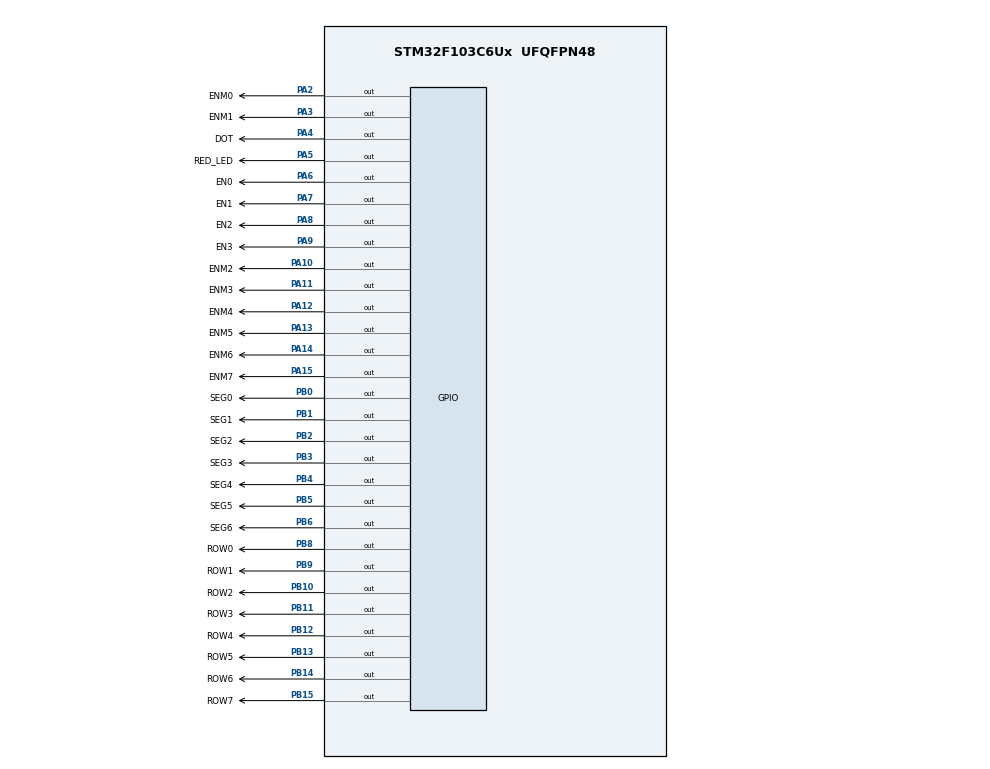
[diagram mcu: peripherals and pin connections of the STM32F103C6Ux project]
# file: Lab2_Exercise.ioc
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Mcu.Family=STM32F1
Mcu.Name=STM32F103C6Ux
Mcu.Package=UFQFPN48
NVIC.PriorityGroup=NVIC_PRIORITYGROUP_4
NVIC.TIM2_IRQn=true\:0\:0\:false\:false\:true\:true\:true\:true
PA10.GPIO_Label=ENM2
PA10.Signal=GPIO_Output
PA11.GPIO_Label=ENM3
PA11.Signal=GPIO_Output
PA12.GPIO_Label=ENM4
PA12.Signal=GPIO_Output
PA13.GPIO_Label=ENM5
PA13.Signal=GPIO_Output
PA14.GPIO_Label=ENM6
PA14.Signal=GPIO_Output
PA15.GPIO_Label=ENM7
PA15.Signal=GPIO_Output
PA2.GPIO_Label=ENM0
PA2.Signal=GPIO_Output
PA3.GPIO_Label=ENM1
PA3.Signal=GPIO_Output
PA4.GPIO_Label=DOT
PA4.Signal=GPIO_Output
PA5.GPIO_Label=RED_LED
PA5.Signal=GPIO_Output
PA6.GPIO_Label=EN0
PA6.Signal=GPIO_Output
PA7.GPIO_Label=EN1
PA7.Signal=GPIO_Output
PA8.GPIO_Label=EN2
PA8.Signal=GPIO_Output
PA9.GPIO_Label=EN3
PA9.Signal=GPIO_Output
PB0.GPIO_Label=SEG0
PB0.Signal=GPIO_Output
PB1.GPIO_Label=SEG1
PB1.Signal=GPIO_Output
PB10.GPIO_Label=ROW2
PB10.Signal=GPIO_Output
PB11.GPIO_Label=ROW3
PB11.Signal=GPIO_Output
PB12.GPIO_Label=ROW4
PB12.Signal=GPIO_Output
PB13.GPIO_Label=ROW5
PB13.Signal=GPIO_Output
PB14.GPIO_Label=ROW6
PB14.Signal=GPIO_Output
PB15.GPIO_Label=ROW7
PB15.Signal=GPIO_Output
PB2.GPIO_Label=SEG2
PB2.Signal=GPIO_Output
PB3.GPIO_Label=SEG3
PB3.Signal=GPIO_Output
PB4.GPIO_Label=SEG4
PB4.Signal=GPIO_Output
PB5.GPIO_Label=SEG5
PB5.Signal=GPIO_Output
PB6.GPIO_Label=SEG6
PB6.Signal=GPIO_Output
PB8.GPIO_Label=ROW0
PB8.Signal=GPIO_Output
PB9.GPIO_Label=ROW1
PB9.Signal=GPIO_Output
ProjectManager.HeapSize=0x200
ProjectManager.StackSize=0x400
ProjectManager.TargetToolchain=STM32CubeIDE
RCC.APB1Freq_Value=8000000
RCC.APB2Freq_Value=8000000
TIM2.Period=9
TIM2.Prescaler=7999
VP_TIM2_VS_ClockSourceINT.Mode=Internal
board=custom

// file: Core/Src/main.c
/* USER CODE BEGIN Header */
/**
  ******************************************************************************
  * @file           : main.c
  * @brief          : Main program body
  ******************************************************************************
  * @attention
  *
  * Copyright (c) 2023 STMicroelectronics.
  * All rights reserved.
  *
  * This software is licensed under terms that can be found in the LICENSE file
  * in the root directory of this software component.
  * If no LICENSE file comes with this software, it is provided AS-IS.
  *
  ******************************************************************************
  */
/* USER CODE END Header */
#include "main.h"

/* USER CODE BEGIN Includes */
#include "software_timer.h"
/* USER CODE END Includes */

/* USER CODE BEGIN PM */
#define TIMER1 25
#define TIMER2 100
#define TIMER3 100
#define TIMER4 5
#define TIMER5 100
/* USER CODE END PM */

TIM_HandleTypeDef htim2;

/* USER CODE BEGIN PV */
const int MAX_LED = 4;
int index_led = 0;
int led_buffer[4] = {1, 2, 3, 4};
int hour = 15, minute = 8, second = 50;

const int MAX_LED_MATRIX = 8;
int index_led_matrix = 0;
uint16_t matrix_row[8] = {0x0018, 0x003C, 0x0066, 0x0066, 0x007E, 0x0066, 0x0066, 0x0066};
uint16_t matrix_col[8] = {0x0001, 0x0002, 0x0004, 0x0008, 0x0010, 0x0020, 0x0040, 0x0080};

uint16_t new_row[8] = {0x0018, 0x003C, 0x0066, 0x0066, 0x007E, 0x0066, 0x0066, 0x0066};
uint16_t new_col[8] = {0x0001, 0x0002, 0x0004, 0x0008, 0x000C, 0x0020, 0x0040, 0x0080};

uint16_t COL[8] = {ENM0_Pin, ENM1_Pin, ENM2_Pin, ENM3_Pin,
				   ENM4_Pin, ENM5_Pin, ENM6_Pin, ENM7_Pin};
uint16_t ROW[8] = {ROW0_Pin, ROW1_Pin, ROW2_Pin, ROW3_Pin,
		           ROW4_Pin, ROW5_Pin, ROW6_Pin, ROW7_Pin};
/* USER CODE END PV */

void SystemClock_Config(void);
static void MX_GPIO_Init(void);
static void MX_TIM2_Init(void);

/* USER CODE BEGIN 0 */
void on_light(int led)
{
	switch (led)
	{
	case 0:
		HAL_GPIO_WritePin(EN0_GPIO_Port, EN0_Pin, RESET);
		HAL_GPIO_WritePin(EN1_GPIO_Port, EN1_Pin, SET);
		HAL_GPIO_WritePin(EN2_GPIO_Port, EN2_Pin, SET);
		HAL_GPIO_WritePin(EN3_GPIO_Port, EN3_Pin, SET);
		break;
	case 1:
		HAL_GPIO_WritePin(EN0_GPIO_Port, EN0_Pin, SET);
		HAL_GPIO_WritePin(EN1_GPIO_Port, EN1_Pin, RESET);
		HAL_GPIO_WritePin(EN2_GPIO_Port, EN2_Pin, SET);
		HAL_GPIO_WritePin(EN3_GPIO_Port, EN3_Pin, SET);
		break;
	case 2:
		HAL_GPIO_WritePin(EN0_GPIO_Port, EN0_Pin, SET);
		HAL_GPIO_WritePin(EN1_GPIO_Port, EN1_Pin, SET);
		HAL_GPIO_WritePin(EN2_GPIO_Port, EN2_Pin, RESET);
		HAL_GPIO_WritePin(EN3_GPIO_Port, EN3_Pin, SET);
		break;
	default:
		HAL_GPIO_WritePin(EN0_GPIO_Port, EN0_Pin, SET);
		HAL_GPIO_WritePin(EN1_GPIO_Port, EN1_Pin, SET);
		HAL_GPIO_WritePin(EN2_GPIO_Port, EN2_Pin, SET);
		HAL_GPIO_WritePin(EN3_GPIO_Port, EN3_Pin, RESET);
	}
}
void display7SEG(int num)
{
	switch (num)
	{
	case 0:
		HAL_GPIO_WritePin(SEG0_GPIO_Port, SEG0_Pin, RESET);
		HAL_GPIO_WritePin(SEG1_GPIO_Port, SEG1_Pin, RESET);
		HAL_GPIO_WritePin(SEG2_GPIO_Port, SEG2_Pin, RESET);
		HAL_GPIO_WritePin(SEG3_GPIO_Port, SEG3_Pin, RESET);
		HAL_GPIO_WritePin(SEG4_GPIO_Port, SEG4_Pin, RESET);
		HAL_GPIO_WritePin(SEG5_GPIO_Port, SEG5_Pin, RESET);
		HAL_GPIO_WritePin(SEG6_GPIO_Port, SEG6_Pin, SET);
		break;
	case 1:
		HAL_GPIO_WritePin(SEG0_GPIO_Port, SEG0_Pin, SET);
		HAL_GPIO_WritePin(SEG1_GPIO_Port, SEG1_Pin, RESET);
		HAL_GPIO_WritePin(SEG2_GPIO_Port, SEG2_Pin, RESET);
		HAL_GPIO_WritePin(SEG3_GPIO_Port, SEG3_Pin, SET);
		HAL_GPIO_WritePin(SEG4_GPIO_Port, SEG4_Pin, SET);
		HAL_GPIO_WritePin(SEG5_GPIO_Port, SEG5_Pin, SET);
		HAL_GPIO_WritePin(SEG6_GPIO_Port, SEG6_Pin, SET);
		break;
	case 2:
		HAL_GPIO_WritePin(SEG0_GPIO_Port, SEG0_Pin, RESET);
		HAL_GPIO_WritePin(SEG1_GPIO_Port, SEG1_Pin, RESET);
		HAL_GPIO_WritePin(SEG2_GPIO_Port, SEG2_Pin, SET);
		HAL_GPIO_WritePin(SEG3_GPIO_Port, SEG3_Pin, RESET);
		HAL_GPIO_WritePin(SEG4_GPIO_Port, SEG4_Pin, RESET);
		HAL_GPIO_WritePin(SEG5_GPIO_Port, SEG5_Pin, SET);
		HAL_GPIO_WritePin(SEG6_GPIO_Port, SEG6_Pin, RESET);
		break;
	case 3:
		HAL_GPIO_WritePin(SEG0_GPIO_Port, SEG0_Pin, RESET);
		HAL_GPIO_WritePin(SEG1_GPIO_Port, SEG1_Pin, RESET);
		HAL_GPIO_WritePin(SEG2_GPIO_Port, SEG2_Pin, RESET);
		HAL_GPIO_WritePin(SEG3_GPIO_Port, SEG3_Pin, RESET);
		HAL_GPIO_WritePin(SEG4_GPIO_Port, SEG4_Pin, SET);
		HAL_GPIO_WritePin(SEG5_GPIO_Port, SEG5_Pin, SET);
		HAL_GPIO_WritePin(SEG6_GPIO_Port, SEG6_Pin, RESET);
		break;
	case 4:
		HAL_GPIO_WritePin(SEG0_GPIO_Port, SEG0_Pin, SET);
		HAL_GPIO_WritePin(SEG1_GPIO_Port, SEG1_Pin, RESET);
		HAL_GPIO_WritePin(SEG2_GPIO_Port, SEG2_Pin, RESET);
		HAL_GPIO_WritePin(SEG3_GPIO_Port, SEG3_Pin, SET);
		HAL_GPIO_WritePin(SEG4_GPIO_Port, SEG4_Pin, SET);
		HAL_GPIO_WritePin(SEG5_GPIO_Port, SEG5_Pin, RESET);
		HAL_GPIO_WritePin(SEG6_GPIO_Port, SEG6_Pin, RESET);
		break;
	case 5:
		HAL_GPIO_WritePin(SEG0_GPIO_Port, SEG0_Pin, RESET);
		HAL_GPIO_WritePin(SEG1_GPIO_Port, SEG1_Pin, SET);
		HAL_GPIO_WritePin(SEG2_GPIO_Port, SEG2_Pin, RESET);
		HAL_GPIO_WritePin(SEG3_GPIO_Port, SEG3_Pin, RESET);
		HAL_GPIO_WritePin(SEG4_GPIO_Port, SEG4_Pin, SET);
		HAL_GPIO_WritePin(SEG5_GPIO_Port, SEG5_Pin, RESET);
		HAL_GPIO_WritePin(SEG6_GPIO_Port, SEG6_Pin, RESET);
		break;
	case 6:
		HAL_GPIO_WritePin(SEG0_GPIO_Port, SEG0_Pin, RESET);
		HAL_GPIO_WritePin(SEG1_GPIO_Port, SEG1_Pin, SET);
		HAL_GPIO_WritePin(SEG2_GPIO_Port, SEG2_Pin, RESET);
		HAL_GPIO_WritePin(SEG3_GPIO_Port, SEG3_Pin, RESET);
		HAL_GPIO_WritePin(SEG4_GPIO_Port, SEG4_Pin, RESET);
		HAL_GPIO_WritePin(SEG5_GPIO_Port, SEG5_Pin, RESET);
		HAL_GPIO_WritePin(SEG6_GPIO_Port, SEG6_Pin, RESET);
		break;
	case 7:
		HAL_GPIO_WritePin(SEG0_GPIO_Port, SEG0_Pin, RESET);
		HAL_GPIO_WritePin(SEG1_GPIO_Port, SEG1_Pin, RESET);
		HAL_GPIO_WritePin(SEG2_GPIO_Port, SEG2_Pin, RESET);
		HAL_GPIO_WritePin(SEG3_GPIO_Port, SEG3_Pin, SET);
		HAL_GPIO_WritePin(SEG4_GPIO_Port, SEG4_Pin, SET);
		HAL_GPIO_WritePin(SEG5_GPIO_Port, SEG5_Pin, SET);
		HAL_GPIO_WritePin(SEG6_GPIO_Port, SEG6_Pin, SET);
		break;
	case 8:
		HAL_GPIO_WritePin(SEG0_GPIO_Port, SEG0_Pin, RESET);
		HAL_GPIO_WritePin(SEG1_GPIO_Port, SEG1_Pin, RESET);
		HAL_GPIO_WritePin(SEG2_GPIO_Port, SEG2_Pin, RESET);
		HAL_GPIO_WritePin(SEG3_GPIO_Port, SEG3_Pin, RESET);
		HAL_GPIO_WritePin(SEG4_GPIO_Port, SEG4_Pin, RESET);
		HAL_GPIO_WritePin(SEG5_GPIO_Port, SEG5_Pin, RESET);
		HAL_GPIO_WritePin(SEG6_GPIO_Port, SEG6_Pin, RESET);
		break;
	case 9:
		HAL_GPIO_WritePin(SEG0_GPIO_Port, SEG0_Pin, RESET);
		HAL_GPIO_WritePin(SEG1_GPIO_Port, SEG1_Pin, RESET);
		HAL_GPIO_WritePin(SEG2_GPIO_Port, SEG2_Pin, RESET);
		HAL_GPIO_WritePin(SEG3_GPIO_Port, SEG3_Pin, RESET);
		HAL_GPIO_WritePin(SEG4_GPIO_Port, SEG4_Pin, SET);
		HAL_GPIO_WritePin(SEG5_GPIO_Port, SEG5_Pin, RESET);
		HAL_GPIO_WritePin(SEG6_GPIO_Port, SEG6_Pin, RESET);
		break;
	default:
		HAL_GPIO_WritePin(SEG0_GPIO_Port, SEG0_Pin, RESET);
		HAL_GPIO_WritePin(SEG1_GPIO_Port, SEG1_Pin, SET);
		HAL_GPIO_WritePin(SEG2_GPIO_Port, SEG2_Pin, SET);
		HAL_GPIO_WritePin(SEG3_GPIO_Port, SEG3_Pin, RESET);
		HAL_GPIO_WritePin(SEG4_GPIO_Port, SEG4_Pin, RESET);
		HAL_GPIO_WritePin(SEG5_GPIO_Port, SEG5_Pin, RESET);
		HAL_GPIO_WritePin(SEG6_GPIO_Port, SEG6_Pin, RESET);
	}
}
void update7SEG(int index)
{
	switch (index)
	{
	case 0:
	case 1:
	case 2:
	case 3:
		display7SEG(led_buffer[index]);
		on_light(index);
		break;
	default:
		break;
	}
}
void updateClockBuffer()
{
	led_buffer[0] = hour/10;
	led_buffer[1] = hour%10;
	led_buffer[2] = minute/10;
	led_buffer[3] = minute%10;
}
void modifyBit()
{
	for (int i = 0; i < MAX_LED_MATRIX; i++)
	{
		uint16_t sum_row = 0;
		uint16_t sum_col = 0;
		for (int j = 0; j < MAX_LED_MATRIX; j++)
		{
			sum_row |= ((matrix_row[i] >> j) & 1)*ROW[j];
			sum_col |= ((matrix_col[i] >> j) & 1)*COL[j];
		}
		new_row[i] = sum_row;
		new_col[i] = sum_col;
	}
}
void updateLEDMatrix(int index)
{
	switch (index)
	{
	case 0:
	case 1:
	case 2:
	case 3:
	case 4:
	case 5:
	case 6:
	case 7:
		GPIOA->ODR = ~new_col[index];
		GPIOB->ODR = ~new_row[index];
		break;
	default:
		break;
	}
}
void animateLED()
{
	uint16_t temp = new_row[MAX_LED_MATRIX - 1];
	for (int i = MAX_LED_MATRIX - 1; i > 0; i--)
	{
		new_row[i] = new_row[i - 1];
	}
	new_row[0] = temp;
}
/* USER CODE END 0 */

int main(void)
{
  /* USER CODE BEGIN 1 */
	modifyBit();
	setTimer1(TIMER1);
	setTimer2(TIMER2);
	setTimer3(TIMER3);
	setTimer4(TIMER4);
	setTimer5(TIMER5);
  /* USER CODE END 1 */

  /* MCU Configuration--------------------------------------------------------*/

  /* Reset of all peripherals, Initializes the Flash interface and the Systick. */
  HAL_Init();

  /* Configure the system clock */
  SystemClock_Config();

  /* Initialize all configured peripherals */
  MX_GPIO_Init();
  MX_TIM2_Init();
  /* USER CODE BEGIN 2 */
  HAL_TIM_Base_Start_IT(&htim2);
  /* USER CODE END 2 */

  /* Infinite loop */
  /* USER CODE BEGIN WHILE */
  while (1)
  {
	  update7SEG(index_led);
	  if (timer1_flag == 1)
	  {
		  setTimer1(TIMER1);
		  index_led++;
		  if (index_led >= MAX_LED)
		  {
			  index_led = 0;
		  }
	  }
	  if (timer2_flag == 1)
	  {
		  setTimer2(TIMER2);
		  HAL_GPIO_TogglePin(DOT_GPIO_Port, DOT_Pin);
	  }
	  updateClockBuffer();
	  if (timer3_flag == 1)
	  {
		  setTimer3(TIMER3);
		  second++;
		  if (second >= 60)
		  {
			  second = 0;
			  minute++;
		  }
		  if (minute >= 60)
		  {
			  minute = 0;
			  hour++;
		  }
		  if (hour >= 24)
		  {
			  hour = 0;
		  }
	  }
	  updateLEDMatrix(index_led_matrix);
	  if (timer4_flag == 1)
	  {
		  setTimer4(TIMER4);
		  index_led_matrix++;
		  if (index_led_matrix >= MAX_LED_MATRIX)
		  {
			  index_led_matrix = 0;
		  }
	  }
	  if (timer5_flag == 1)
	  {
		  setTimer5(TIMER5);
		  animateLED();
	  }
    /* USER CODE END WHILE */

  }
}

void SystemClock_Config(void)
{
  RCC_OscInitTypeDef RCC_OscInitStruct = {0};
  RCC_ClkInitTypeDef RCC_ClkInitStruct = {0};

  /** Initializes the RCC Oscillators according to the specified parameters
  * in the RCC_OscInitTypeDef structure.
  */
  RCC_OscInitStruct.OscillatorType = RCC_OSCILLATORTYPE_HSI;
  RCC_OscInitStruct.HSIState = RCC_HSI_ON;
  RCC_OscInitStruct.HSICalibrationValue = RCC_HSICALIBRATION_DEFAULT;
  RCC_OscInitStruct.PLL.PLLState = RCC_PLL_NONE;
  if (HAL_RCC_OscConfig(&RCC_OscInitStruct) != HAL_OK)
  {
    Error_Handler();
  }

  /** Initializes the CPU, AHB and APB buses clocks
  */
  RCC_ClkInitStruct.ClockType = RCC_CLOCKTYPE_HCLK|RCC_CLOCKTYPE_SYSCLK
                              |RCC_CLOCKTYPE_PCLK1|RCC_CLOCKTYPE_PCLK2;
  RCC_ClkInitStruct.SYSCLKSource = RCC_SYSCLKSOURCE_HSI;
  RCC_ClkInitStruct.AHBCLKDivider = RCC_SYSCLK_DIV1;
  RCC_ClkInitStruct.APB1CLKDivider = RCC_HCLK_DIV1;
  RCC_ClkInitStruct.APB2CLKDivider = RCC_HCLK_DIV1;

  if (HAL_RCC_ClockConfig(&RCC_ClkInitStruct, FLASH_LATENCY_0) != HAL_OK)
  {
    Error_Handler();
  }
}

static void MX_TIM2_Init(void)
{

  TIM_ClockConfigTypeDef sClockSourceConfig = {0};
  TIM_MasterConfigTypeDef sMasterConfig = {0};

  htim2.Instance = TIM2;
  htim2.Init.Prescaler = 7999;
  htim2.Init.CounterMode = TIM_COUNTERMODE_UP;
  htim2.Init.Period = 9;
  htim2.Init.ClockDivision = TIM_CLOCKDIVISION_DIV1;
  htim2.Init.AutoReloadPreload = TIM_AUTORELOAD_PRELOAD_DISABLE;
  if (HAL_TIM_Base_Init(&htim2) != HAL_OK)
  {
    Error_Handler();
  }
  sClockSourceConfig.ClockSource = TIM_CLOCKSOURCE_INTERNAL;
  if (HAL_TIM_ConfigClockSource(&htim2, &sClockSourceConfig) != HAL_OK)
  {
    Error_Handler();
  }
  sMasterConfig.MasterOutputTrigger = TIM_TRGO_RESET;
  sMasterConfig.MasterSlaveMode = TIM_MASTERSLAVEMODE_DISABLE;
  if (HAL_TIMEx_MasterConfigSynchronization(&htim2, &sMasterConfig) != HAL_OK)
  {
    Error_Handler();
  }

}

static void MX_GPIO_Init(void)
{
  GPIO_InitTypeDef GPIO_InitStruct = {0};

  /* GPIO Ports Clock Enable */
  __HAL_RCC_GPIOA_CLK_ENABLE();
  __HAL_RCC_GPIOB_CLK_ENABLE();

  /*Configure GPIO pin Output Level */
  HAL_GPIO_WritePin(GPIOA, ENM0_Pin|ENM1_Pin|DOT_Pin|RED_LED_Pin
                          |EN0_Pin|EN1_Pin|EN2_Pin|EN3_Pin
                          |ENM2_Pin|ENM3_Pin|ENM4_Pin|ENM5_Pin
                          |ENM6_Pin|ENM7_Pin, GPIO_PIN_RESET);

  /*Configure GPIO pin Output Level */
  HAL_GPIO_WritePin(GPIOB, SEG0_Pin|SEG1_Pin|SEG2_Pin|ROW2_Pin
                          |ROW3_Pin|ROW4_Pin|ROW5_Pin|ROW6_Pin
                          |ROW7_Pin|SEG3_Pin|SEG4_Pin|SEG5_Pin
                          |SEG6_Pin|ROW0_Pin|ROW1_Pin, GPIO_PIN_RESET);

  /*Configure GPIO pins : ENM0_Pin ENM1_Pin DOT_Pin RED_LED_Pin
                           EN0_Pin EN1_Pin EN2_Pin EN3_Pin
                           ENM2_Pin ENM3_Pin ENM4_Pin ENM5_Pin
                           ENM6_Pin ENM7_Pin */
  GPIO_InitStruct.Pin = ENM0_Pin|ENM1_Pin|DOT_Pin|RED_LED_Pin
                          |EN0_Pin|EN1_Pin|EN2_Pin|EN3_Pin
                          |ENM2_Pin|ENM3_Pin|ENM4_Pin|ENM5_Pin
                          |ENM6_Pin|ENM7_Pin;
  GPIO_InitStruct.Mode = GPIO_MODE_OUTPUT_PP;
  GPIO_InitStruct.Pull = GPIO_NOPULL;
  GPIO_InitStruct.Speed = GPIO_SPEED_FREQ_LOW;
  HAL_GPIO_Init(GPIOA, &GPIO_InitStruct);

  /*Configure GPIO pins : SEG0_Pin SEG1_Pin SEG2_Pin ROW2_Pin
                           ROW3_Pin ROW4_Pin ROW5_Pin ROW6_Pin
                           ROW7_Pin SEG3_Pin SEG4_Pin SEG5_Pin
                           SEG6_Pin ROW0_Pin ROW1_Pin */
  GPIO_InitStruct.Pin = SEG0_Pin|SEG1_Pin|SEG2_Pin|ROW2_Pin
                          |ROW3_Pin|ROW4_Pin|ROW5_Pin|ROW6_Pin
                          |ROW7_Pin|SEG3_Pin|SEG4_Pin|SEG5_Pin
                          |SEG6_Pin|ROW0_Pin|ROW1_Pin;
  GPIO_InitStruct.Mode = GPIO_MODE_OUTPUT_PP;
  GPIO_InitStruct.Pull = GPIO_NOPULL;
  GPIO_InitStruct.Speed = GPIO_SPEED_FREQ_LOW;
  HAL_GPIO_Init(GPIOB, &GPIO_InitStruct);

}

/* USER CODE BEGIN 4 */
void HAL_TIM_PeriodElapsedCallback(TIM_HandleTypeDef *htim)
{
	timer1Run();
	timer2Run();
	timer3Run();
	timer4Run();
	timer5Run();
}
/* USER CODE END 4 */

void Error_Handler(void)
{
  __disable_irq();
  while (1)
  {
  }
}
